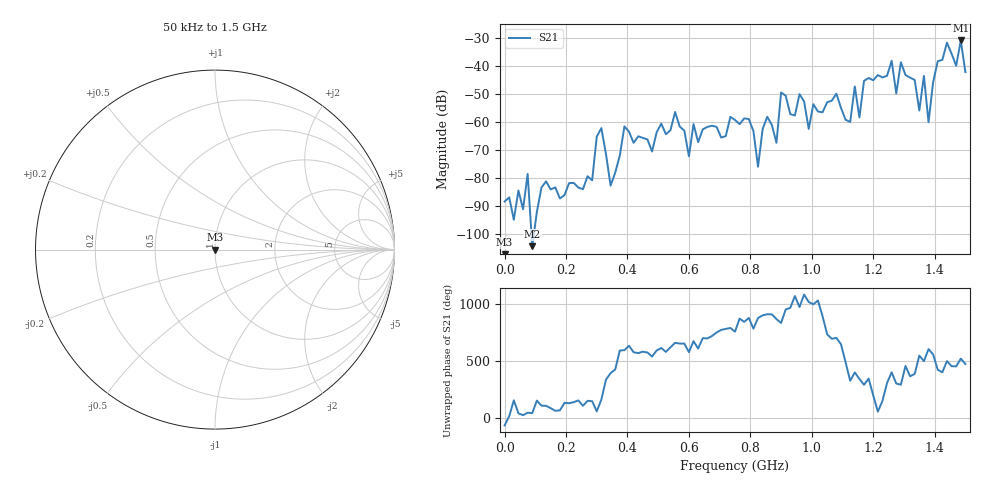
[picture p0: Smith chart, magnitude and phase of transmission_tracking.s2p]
! Created with skrf 1.8.0 (http://scikit-rf.org).
# Hz S RI R 50.0
!freq ReS11 ImS11 ReS21 ImS21 ReS12 ImS12 ReS22 ImS22
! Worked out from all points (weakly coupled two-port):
!   101 points, 50 kHz to 1.5 GHz, reference 50 ohm
!   highest |S21| = -30.76 dB at 1.485 GHz (marker M1); lowest = -104.4 dB at 90.05 MHz (marker M2)
!   lowest |S11| = - dB at 50 kHz (marker M3), VSWR 1.00, Z = 50 + j0 ohm
!   |S11| at or under -10 dB: start of sweep to end of sweep
!   S12 and S22 are empty: the file has one direction only
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50000  0 0  1.61e-05 -3.45e-05  0 0  0 0
9.0047e7  0 0  4.43e-06 4.12e-06  0 0  0 0
2.550415e8  0 0  -1.89e-05 6.02e-05  0 0  0 0
3.150395e8  0 0  -0.000745 0.000243  0 0  0 0
3.450385e8  0 0  6.1e-05 4.06e-05  0 0  0 0
3.90037e8  0 0  -0.000481 -0.000689  0 0  0 0
5.10033e8  0 0  -0.000259 -0.000906  0 0  0 0
6.0003e8  0 0  -0.000195 -0.000148  0 0  0 0
7.50025e8  0 0  0.000871 0.000663  0 0  0 0
8.250225e8  0 0  -0.000146 6.35e-05  0 0  0 0
8.550215e8  0 0  -0.00123 -0.000211  0 0  0 0
8.850205e8  0 0  -0.000357 0.000234  0 0  0 0
9.0002e8  0 0  -0.00136 0.00311  0 0  0 0
1.005016e9  0 0  0.000249 -0.00208  0 0  0 0
1.155012e9  0 0  0.00116 -0.000363  0 0  0 0
1.260008e9  0 0  0.00951 0.00815  0 0  0 0
1.350005e9  0 0  -0.0016 -0.000196  0 0  0 0
1.365004e9  0 0  -0.00504 0.00446  0 0  0 0
1.380004e9  0 0  -0.000438 -0.000899  0 0  0 0
1.410003e9  0 0  0.00552 0.011  0 0  0 0
1.485e9  0 0  -0.0273 0.00966  0 0  0 0
1.5e9  0 0  -0.00318 0.00721  0 0  0 0
